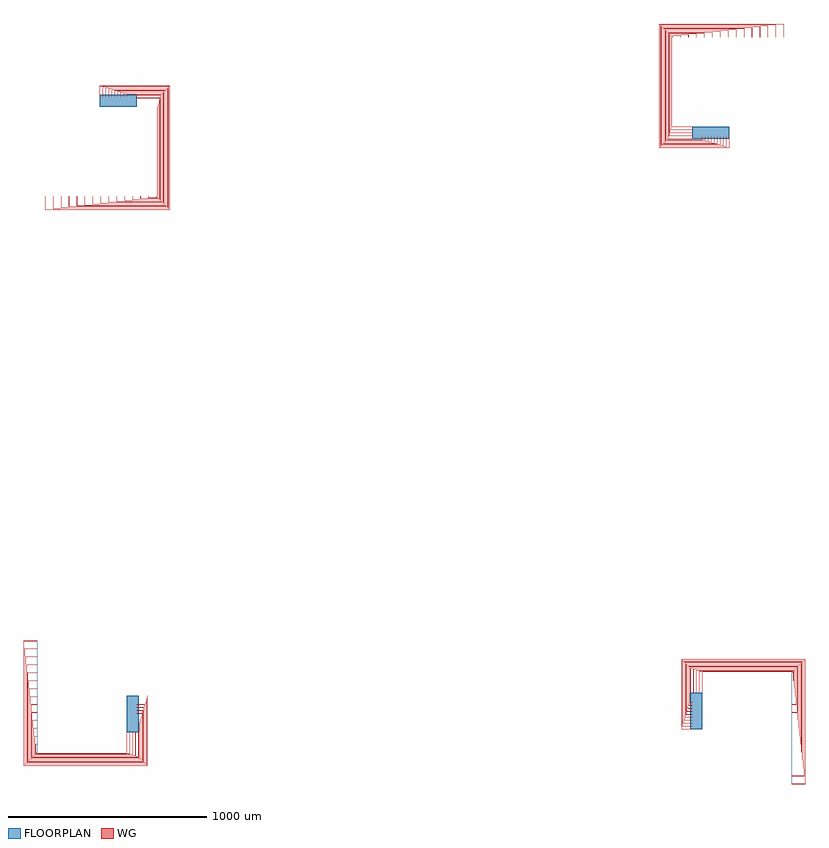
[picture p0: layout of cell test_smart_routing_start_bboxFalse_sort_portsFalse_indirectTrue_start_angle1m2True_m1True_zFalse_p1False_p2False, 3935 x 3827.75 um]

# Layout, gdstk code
import gdstk
lib = gdstk.Library(unit=1e-6, precision=1e-09)
def R(c, l, rs):  # rectangles x0, y0, x1, y1
    for r in rs: c.add(gdstk.rectangle(r[:2], r[2:], *l))
def P(c, l, *ps):  # polygons
    for p in ps: c.add(gdstk.Polygon(p, *l))
WG = (1, 0)
FLOORPLAN = (10, 0)

test_smart_routing_start = lib.new_cell('test_smart_routing_start_bboxFalse_sort_portsFalse_indirectTrue_start_angle1m2True_m1True_zFalse_p1False_p2False')
P(test_smart_routing_start, WG, [(-404.5,-204.75),(-404.5,-199.75),(-400,-199.75),(-400,-200.25),(-404,-200.25),(-404,-204.25),(49.75,-204.25),(49.75,-100),(50.25,-100),(50.25,-204.75)],
  [(-409,-209.25),(-409,-159.75),(-400,-159.75),(-400,-160.25),(-408.5,-160.25),(-408.5,-208.75),(64.75,-208.75),(64.75,-100),(65.25,-100),(65.25,-209.25)],
  [(-413.5,-213.75),(-413.5,-119.75),(-400,-119.75),(-400,-120.25),(-413,-120.25),(-413,-213.25),(79.75,-213.25),(79.75,-100),(80.25,-100),(80.25,-213.75)],
  [(-418,-218.25),(-418,-79.75),(-400,-79.75),(-400,-80.25),(-417.5,-80.25),(-417.5,-217.75),(94.75,-217.75),(94.75,-100),(95.25,-100),(95.25,-218.25)],
  [(-422.5,-222.75),(-422.5,-39.75),(-400,-39.75),(-400,-40.25),(-422,-40.25),(-422,-222.25),(109.75,-222.25),(109.75,-100),(110.25,-100),(110.25,-222.75)],
  [(-427,-227.25),(-427,0.25),(-400,0.25),(-400,-0.25),(-426.5,-0.25),(-426.5,-226.75),(114.25,-226.75),(114.25,-50.25),(100,-50.25),(100,-49.75),(114.75,-49.75),(114.75,-227.25)],
  [(-431.5,-231.75),(-431.5,40.25),(-400,40.25),(-400,39.75),(-431,39.75),(-431,-231.25),(118.75,-231.25),(118.75,-35.25),(100,-35.25),(100,-34.75),(119.25,-34.75),(119.25,-231.75)],
  [(-436,-236.25),(-436,80.25),(-400,80.25),(-400,79.75),(-435.5,79.75),(-435.5,-235.75),(123.25,-235.75),(123.25,-20.25),(100,-20.25),(100,-19.75),(123.75,-19.75),(123.75,-236.25)],
  [(-440.5,-240.75),(-440.5,120.25),(-400,120.25),(-400,119.75),(-440,119.75),(-440,-240.25),(127.75,-240.25),(127.75,-5.25),(100,-5.25),(100,-4.75),(128.25,-4.75),(128.25,-240.75)],
  [(-445,-245.25),(-445,160.25),(-400,160.25),(-400,159.75),(-444.5,159.75),(-444.5,-244.75),(132.25,-244.75),(132.25,9.75),(100,9.75),(100,10.25),(132.75,10.25),(132.75,-245.25)],
  [(-449.5,-249.75),(-449.5,200.25),(-400,200.25),(-400,199.75),(-449,199.75),(-449,-249.25),(136.75,-249.25),(136.75,24.75),(100,24.75),(100,25.25),(137.25,25.25),(137.25,-249.75)],
  [(-454,-254.25),(-454,240.25),(-400,240.25),(-400,239.75),(-453.5,239.75),(-453.5,-253.75),(141.25,-253.75),(141.25,39.75),(100,39.75),(100,40.25),(141.75,40.25),(141.75,-254.25)],
  [(-458.5,-258.75),(-458.5,280.25),(-400,280.25),(-400,279.75),(-458,279.75),(-458,-258.25),(145.75,-258.25),(145.75,54.75),(100,54.75),(100,55.25),(146.25,55.25),(146.25,-258.75)],
  [(-463,-263.25),(-463,320.25),(-400,320.25),(-400,319.75),(-462.5,319.75),(-462.5,-262.75),(150.25,-262.75),(150.25,69.75),(100,69.75),(100,70.25),(150.75,70.25),(150.75,-263.25)],
  [(-467.5,-267.75),(-467.5,360.25),(-400,360.25),(-400,359.75),(-467,359.75),(-467,-267.25),(154.75,-267.25),(154.75,84.75),(100,84.75),(100,85.25),(155.25,85.25),(155.25,-267.75)],
  [(199.75,2595.5),(199.75,2600),(200.25,2600),(200.25,2596),(204.25,2596),(204.25,3049.75),(100,3049.75),(100,3050.25),(204.75,3050.25),(204.75,2595.5)],
  [(159.75,2591),(159.75,2600),(160.25,2600),(160.25,2591.5),(208.75,2591.5),(208.75,3064.75),(100,3064.75),(100,3065.25),(209.25,3065.25),(209.25,2591)],
  [(119.75,2586.5),(119.75,2600),(120.25,2600),(120.25,2587),(213.25,2587),(213.25,3079.75),(100,3079.75),(100,3080.25),(213.75,3080.25),(213.75,2586.5)],
  [(79.75,2582),(79.75,2600),(80.25,2600),(80.25,2582.5),(217.75,2582.5),(217.75,3094.75),(100,3094.75),(100,3095.25),(218.25,3095.25),(218.25,2582)],
  [(39.75,2577.5),(39.75,2600),(40.25,2600),(40.25,2578),(222.25,2578),(222.25,3109.75),(100,3109.75),(100,3110.25),(222.75,3110.25),(222.75,2577.5)],
  [(-0.25,2573),(-0.25,2600),(0.25,2600),(0.25,2573.5),(226.75,2573.5),(226.75,3114.25),(50.25,3114.25),(50.25,3100),(49.75,3100),(49.75,3114.75),(227.25,3114.75),(227.25,2573)],
  [(-40.25,2568.5),(-40.25,2600),(-39.75,2600),(-39.75,2569),(231.25,2569),(231.25,3118.75),(35.25,3118.75),(35.25,3100),(34.75,3100),(34.75,3119.25),(231.75,3119.25),(231.75,2568.5)],
  [(-80.25,2564),(-80.25,2600),(-79.75,2600),(-79.75,2564.5),(235.75,2564.5),(235.75,3123.25),(20.25,3123.25),(20.25,3100),(19.75,3100),(19.75,3123.75),(236.25,3123.75),(236.25,2564)],
  [(-120.25,2559.5),(-120.25,2600),(-119.75,2600),(-119.75,2560),(240.25,2560),(240.25,3127.75),(5.25,3127.75),(5.25,3100),(4.75,3100),(4.75,3128.25),(240.75,3128.25),(240.75,2559.5)],
  [(-160.25,2555),(-160.25,2600),(-159.75,2600),(-159.75,2555.5),(244.75,2555.5),(244.75,3132.25),(-9.75,3132.25),(-9.75,3100),(-10.25,3100),(-10.25,3132.75),(245.25,3132.75),(245.25,2555)],
  [(-200.25,2550.5),(-200.25,2600),(-199.75,2600),(-199.75,2551),(249.25,2551),(249.25,3136.75),(-24.75,3136.75),(-24.75,3100),(-25.25,3100),(-25.25,3137.25),(249.75,3137.25),(249.75,2550.5)],
  [(-240.25,2546),(-240.25,2600),(-239.75,2600),(-239.75,2546.5),(253.75,2546.5),(253.75,3141.25),(-39.75,3141.25),(-39.75,3100),(-40.25,3100),(-40.25,3141.75),(254.25,3141.75),(254.25,2546)],
  [(-280.25,2541.5),(-280.25,2600),(-279.75,2600),(-279.75,2542),(258.25,2542),(258.25,3145.75),(-54.75,3145.75),(-54.75,3100),(-55.25,3100),(-55.25,3146.25),(258.75,3146.25),(258.75,2541.5)],
  [(-320.25,2537),(-320.25,2600),(-319.75,2600),(-319.75,2537.5),(262.75,2537.5),(262.75,3150.25),(-69.75,3150.25),(-69.75,3100),(-70.25,3100),(-70.25,3150.75),(263.25,3150.75),(263.25,2537)],
  [(-360.25,2532.5),(-360.25,2600),(-359.75,2600),(-359.75,2533),(267.25,2533),(267.25,3154.75),(-84.75,3154.75),(-84.75,3100),(-85.25,3100),(-85.25,3155.25),(267.75,3155.25),(267.75,2532.5)],
  [(2949.75,100),(2949.75,204.75),(3404.5,204.75),(3404.5,199.75),(3400,199.75),(3400,200.25),(3404,200.25),(3404,204.25),(2950.25,204.25),(2950.25,100)],
  [(2934.75,100),(2934.75,209.25),(3409,209.25),(3409,159.75),(3400,159.75),(3400,160.25),(3408.5,160.25),(3408.5,208.75),(2935.25,208.75),(2935.25,100)],
  [(2919.75,100),(2919.75,213.75),(3413.5,213.75),(3413.5,119.75),(3400,119.75),(3400,120.25),(3413,120.25),(3413,213.25),(2920.25,213.25),(2920.25,100)],
  [(3400,79.75),(3400,80.25),(3417.5,80.25),(3417.5,217.75),(2905.25,217.75),(2905.25,100),(2904.75,100),(2904.75,218.25),(3418,218.25),(3418,79.75)],
  [(3400,39.75),(3400,40.25),(3422,40.25),(3422,222.25),(2890.25,222.25),(2890.25,100),(2889.75,100),(2889.75,222.75),(3422.5,222.75),(3422.5,39.75)],
  [(3400,-0.25),(3400,0.25),(3426.5,0.25),(3426.5,226.75),(2885.75,226.75),(2885.75,50.25),(2900,50.25),(2900,49.75),(2885.25,49.75),(2885.25,227.25),(3427,227.25),(3427,-0.25)],
  [(3400,-40.25),(3400,-39.75),(3431,-39.75),(3431,231.25),(2881.25,231.25),(2881.25,35.25),(2900,35.25),(2900,34.75),(2880.75,34.75),(2880.75,231.75),(3431.5,231.75),(3431.5,-40.25)],
  [(3400,-80.25),(3400,-79.75),(3435.5,-79.75),(3435.5,235.75),(2876.75,235.75),(2876.75,20.25),(2900,20.25),(2900,19.75),(2876.25,19.75),(2876.25,236.25),(3436,236.25),(3436,-80.25)],
  [(3400,-120.25),(3400,-119.75),(3440,-119.75),(3440,240.25),(2872.25,240.25),(2872.25,5.25),(2900,5.25),(2900,4.75),(2871.75,4.75),(2871.75,240.75),(3440.5,240.75),(3440.5,-120.25)],
  [(3400,-160.25),(3400,-159.75),(3444.5,-159.75),(3444.5,244.75),(2867.75,244.75),(2867.75,-9.75),(2900,-9.75),(2900,-10.25),(2867.25,-10.25),(2867.25,245.25),(3445,245.25),(3445,-160.25)],
  [(3400,-200.25),(3400,-199.75),(3449,-199.75),(3449,249.25),(2863.25,249.25),(2863.25,-24.75),(2900,-24.75),(2900,-25.25),(2862.75,-25.25),(2862.75,249.75),(3449.5,249.75),(3449.5,-200.25)],
  [(3400,-240.25),(3400,-239.75),(3453.5,-239.75),(3453.5,253.75),(2858.75,253.75),(2858.75,-39.75),(2900,-39.75),(2900,-40.25),(2858.25,-40.25),(2858.25,254.25),(3454,254.25),(3454,-240.25)],
  [(3400,-280.25),(3400,-279.75),(3458,-279.75),(3458,258.25),(2854.25,258.25),(2854.25,-54.75),(2900,-54.75),(2900,-55.25),(2853.75,-55.25),(2853.75,258.75),(3458.5,258.75),(3458.5,-280.25)],
  [(3400,-320.25),(3400,-319.75),(3462.5,-319.75),(3462.5,262.75),(2849.75,262.75),(2849.75,-69.75),(2900,-69.75),(2900,-70.25),(2849.25,-70.25),(2849.25,263.25),(3463,263.25),(3463,-320.25)],
  [(3400,-360.25),(3400,-359.75),(3467,-359.75),(3467,267.25),(2845.25,267.25),(2845.25,-84.75),(2900,-84.75),(2900,-85.25),(2844.75,-85.25),(2844.75,267.75),(3467.5,267.75),(3467.5,-360.25)],
  [(2795.25,2949.75),(2795.25,3404.5),(2800.25,3404.5),(2800.25,3400),(2799.75,3400),(2799.75,3404),(2795.75,3404),(2795.75,2950.25),(2900,2950.25),(2900,2949.75)],
  [(2790.75,2934.75),(2790.75,3409),(2840.25,3409),(2840.25,3400),(2839.75,3400),(2839.75,3408.5),(2791.25,3408.5),(2791.25,2935.25),(2900,2935.25),(2900,2934.75)],
  [(2786.25,2919.75),(2786.25,3413.5),(2880.25,3413.5),(2880.25,3400),(2879.75,3400),(2879.75,3413),(2786.75,3413),(2786.75,2920.25),(2900,2920.25),(2900,2919.75)],
  [(2781.75,2904.75),(2781.75,3418),(2920.25,3418),(2920.25,3400),(2919.75,3400),(2919.75,3417.5),(2782.25,3417.5),(2782.25,2905.25),(2900,2905.25),(2900,2904.75)],
  [(2777.25,2889.75),(2777.25,3422.5),(2960.25,3422.5),(2960.25,3400),(2959.75,3400),(2959.75,3422),(2777.75,3422),(2777.75,2890.25),(2900,2890.25),(2900,2889.75)],
  [(2772.75,2885.25),(2772.75,3427),(3000.25,3427),(3000.25,3400),(2999.75,3400),(2999.75,3426.5),(2773.25,3426.5),(2773.25,2885.75),(2949.75,2885.75),(2949.75,2900),(2950.25,2900),(2950.25,2885.25)],
  [(2768.25,2880.75),(2768.25,3431.5),(3040.25,3431.5),(3040.25,3400),(3039.75,3400),(3039.75,3431),(2768.75,3431),(2768.75,2881.25),(2964.75,2881.25),(2964.75,2900),(2965.25,2900),(2965.25,2880.75)],
  [(2763.75,2876.25),(2763.75,3436),(3080.25,3436),(3080.25,3400),(3079.75,3400),(3079.75,3435.5),(2764.25,3435.5),(2764.25,2876.75),(2979.75,2876.75),(2979.75,2900),(2980.25,2900),(2980.25,2876.25)],
  [(2759.25,2871.75),(2759.25,3440.5),(3120.25,3440.5),(3120.25,3400),(3119.75,3400),(3119.75,3440),(2759.75,3440),(2759.75,2872.25),(2994.75,2872.25),(2994.75,2900),(2995.25,2900),(2995.25,2871.75)],
  [(2754.75,2867.25),(2754.75,3445),(3160.25,3445),(3160.25,3400),(3159.75,3400),(3159.75,3444.5),(2755.25,3444.5),(2755.25,2867.75),(3009.75,2867.75),(3009.75,2900),(3010.25,2900),(3010.25,2867.25)],
  [(2750.25,2862.75),(2750.25,3449.5),(3200.25,3449.5),(3200.25,3400),(3199.75,3400),(3199.75,3449),(2750.75,3449),(2750.75,2863.25),(3024.75,2863.25),(3024.75,2900),(3025.25,2900),(3025.25,2862.75)],
  [(2745.75,2858.25),(2745.75,3454),(3240.25,3454),(3240.25,3400),(3239.75,3400),(3239.75,3453.5),(2746.25,3453.5),(2746.25,2858.75),(3039.75,2858.75),(3039.75,2900),(3040.25,2900),(3040.25,2858.25)],
  [(2741.25,2853.75),(2741.25,3458.5),(3280.25,3458.5),(3280.25,3400),(3279.75,3400),(3279.75,3458),(2741.75,3458),(2741.75,2854.25),(3054.75,2854.25),(3054.75,2900),(3055.25,2900),(3055.25,2853.75)],
  [(2736.75,2849.25),(2736.75,3463),(3320.25,3463),(3320.25,3400),(3319.75,3400),(3319.75,3462.5),(2737.25,3462.5),(2737.25,2849.75),(3069.75,2849.75),(3069.75,2900),(3070.25,2900),(3070.25,2849.25)],
  [(2732.25,2844.75),(2732.25,3467.5),(3360.25,3467.5),(3360.25,3400),(3359.75,3400),(3359.75,3467),(2732.75,3467),(2732.75,2845.25),(3084.75,2845.25),(3084.75,2900),(3085.25,2900),(3085.25,2844.75)])
R(test_smart_routing_start, FLOORPLAN, [(50,-100,110,85), (2890,-85,2950,100), (2900,2890,3085,2950), (-85,3050,100,3110)])
P(test_smart_routing_start, FLOORPLAN, [(-400,-200),(-400,360),(-400,360),(-400,-200)],
  [(-360,2600),(-360,2600),(200,2600),(200,2600)],
  [(3400,-360),(3400,200),(3400,200),(3400,-360)],
  [(2800,3400),(2800,3400),(3360,3400),(3360,3400)])

lib.write_gds('test_smart_routing_start_bboxFalse_sort_portsFalse_indirectTrue_start_angle1m2True_m1True_zFalse_p1False_p2False.gds')
